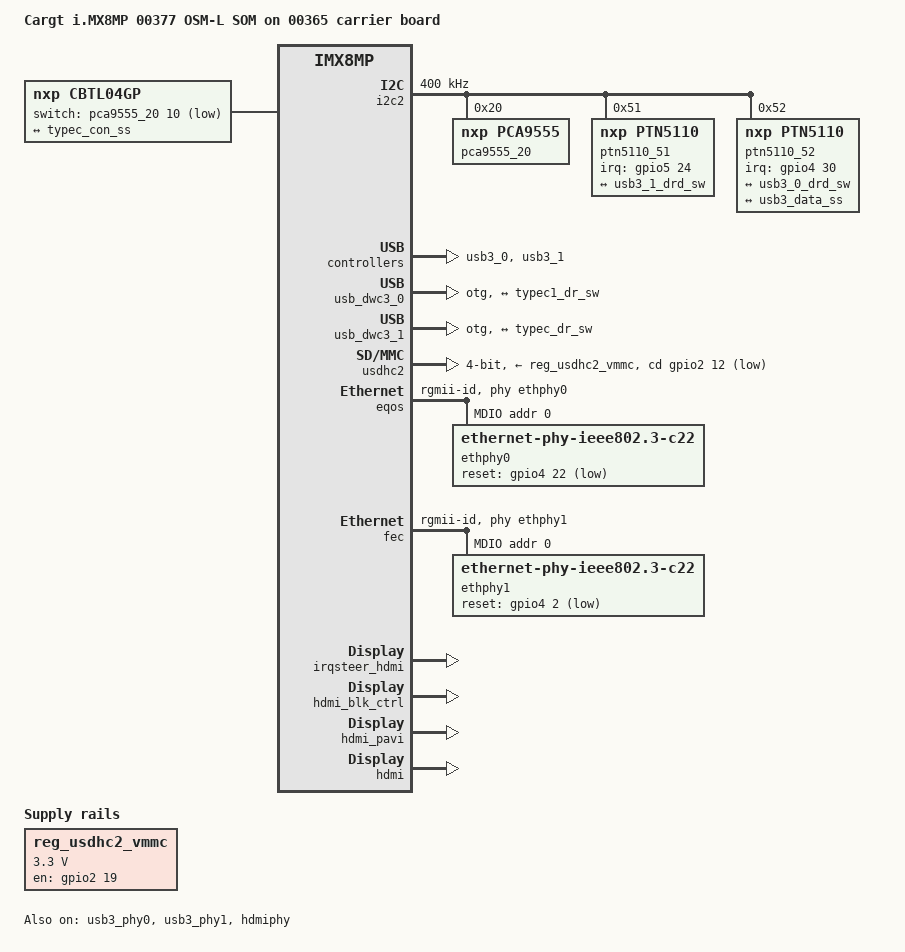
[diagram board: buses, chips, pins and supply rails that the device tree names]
// SPDX-License-Identifier: (GPL-2.0+ OR MIT)
/*
 * Copyright 2022 NXP
 */

/dts-v1/;

#include <dt-bindings/usb/pd.h>
#include "imx8mp-cargt-00377-osm-som.dts"
 / {
	model = "Cargt i.MX8MP 00377 OSM-L SOM on 00365 carrier board";

	cbtl04gp {
		compatible = "nxp,cbtl04gp";
		switch-gpios = <&pca9555_20 10 GPIO_ACTIVE_LOW>;
		orientation-switch;

		port {
			usb3_data_ss: endpoint {
				remote-endpoint = <&typec_con_ss>;
			};
		};
	};	
		
	reg_usdhc2_vmmc: regulator-usdhc2 {
		pinctrl-names = "default";
		pinctrl-0 = <&pinctrl_reg_usdhc2_vmmc>;
		compatible = "regulator-fixed";
		regulator-name = "SD2_3P3V";
		regulator-min-microvolt = <3300000>;
		regulator-max-microvolt = <3300000>;
		gpio = <&gpio2 19 GPIO_ACTIVE_HIGH>;
		enable-active-high;
	};
};

&i2c2 {
	 #address-cells = <1>;
	 #size-cells = <0>;
	 clock-frequency = <400000>;
	 pinctrl-names = "default", "sleep";
	 pinctrl-0 = <&pinctrl_i2c2>;
	 pinctrl-1 = <&pinctrl_i2c2>;
	 status = "okay";
 
	pca9555_20: pca9555@20 {
		compatible = "nxp,pca9555";
		reg = <0x20>;
		gpio-controller;
		#gpio-cells = <2>;
		status = "okay";
		gpio-line-names =
			"pca9555_20-0",	"pca9555_20-1",	"pca9555_20-2",	"pca9555_20-3", 	// 0-3
			"pca9555_20-4",	"pca9555_20-5",	"pca9555_20-6",	"pca9555_20-7",		// 4-7
			"pca9555_20-8",	"pca9555_20-9",	"pca9555_20-10","pca9555_20-11", 	// 8-11
			"pca9555_20-12","pca9555_20-13","pca9555_20-14","pca9555_20-15"; 	// 12-15
	};	 
 
	 ptn5110_51: tcpc@51 {
		 compatible = "nxp,ptn5110";
		 reg = <0x51>;
		 pinctrl-names = "default";
		 pinctrl-0 = <&pinctrl_ptn5110_51>;
		 interrupt-parent = <&gpio5>;
		 interrupts = <24 IRQ_TYPE_LEVEL_LOW>;	
		 status = "okay";
 
		 port {
			 typec_dr_sw: endpoint {
				 remote-endpoint = <&usb3_1_drd_sw>;
			 };
		 };
 
		 typec1_con: connector {
			 compatible = "usb-c-connector";
			 label = "USB-C";
			 power-role = "dual";
			 data-role = "dual";
			 try-power-role = "sink";
			 source-pdos = <PDO_FIXED(5000, 3000, PDO_FIXED_USB_COMM)>;
			 sink-pdos = <PDO_FIXED(5000, 3000, PDO_FIXED_USB_COMM)
					 PDO_VAR(5000, 20000, 3000)>;
			 op-sink-microwatt = <15000000>;
			 self-powered;
		 };
	 };

	 ptn5110_52: tcpc@52 {
		 compatible = "nxp,ptn5110";
		 reg = <0x52>;
		 pinctrl-names = "default";
		 pinctrl-0 = <&pinctrl_ptn5110_52>;
		 interrupt-parent = <&gpio4>;
		 interrupts = <30 IRQ_TYPE_LEVEL_LOW>;			
		 status = "okay";
		
		port {
			typec1_dr_sw: endpoint {
				remote-endpoint = <&usb3_0_drd_sw>;
			};
		};
		
		usb_con: connector {
			compatible = "usb-c-connector";
			label = "USB-C";
			power-role = "dual";
			data-role = "dual";
			try-power-role = "sink";
			source-pdos = <PDO_FIXED(5000, 3000, PDO_FIXED_USB_COMM)>;
			sink-pdos = <PDO_FIXED(5000, 3000, PDO_FIXED_USB_COMM)
				     PDO_VAR(5000, 20000, 3000)>;
			op-sink-microwatt = <15000000>;
			self-powered;

			ports {
				#address-cells = <1>;
				#size-cells = <0>;

				port@1 {
					reg = <1>;
					typec_con_ss: endpoint {
						remote-endpoint = <&usb3_data_ss>;
					};
				};
			};
		}; 
	};
};

&uart2 {
 	/* These pins are needed for ETH and USB interrupts
	 * on the 00365 carrier board, so disable UART2
	 */
	status = "disabled";
};

&usb3_phy0 {
	fsl,phy-tx-vref-tune = <0xe>;
	fsl,phy-tx-preemp-amp-tune = <3>;
	fsl,phy-tx-vboost-level = <5>;
	fsl,phy-comp-dis-tune = <7>;
	fsl,pcs-tx-deemph-3p5db = <0x21>;
	fsl,phy-pcs-tx-swing-full = <0x7f>;
	status = "okay";
};

&usb3_0 {
	status = "okay";
};

&usb_dwc3_0 {
	dr_mode = "otg";
	hnp-disable;
	srp-disable;
	adp-disable;
	usb-role-switch;
	role-switch-default-mode = "none";
	snps,dis-u1-entry-quirk;
	snps,dis-u2-entry-quirk;
	status = "okay";

	port {
		usb3_0_drd_sw: endpoint {
			remote-endpoint = <&typec1_dr_sw>;
		};
	};
};

&usb3_phy1 {
	fsl,phy-tx-preemp-amp-tune = <3>;
	fsl,phy-tx-vref-tune = <0xb>;
	status = "okay";
};

&usb3_1 {
	status = "okay";
};

&usb_dwc3_1 {
	dr_mode = "otg";
	hnp-disable;
	srp-disable;
	adp-disable;
	usb-role-switch;
	role-switch-default-mode = "none";
	snps,dis-u1-entry-quirk;
	snps,dis-u2-entry-quirk;
	status = "okay";

	port {
		usb3_1_drd_sw: endpoint {
			remote-endpoint = <&typec_dr_sw>;
		};
	};	
};

&usdhc2 {
	assigned-clocks = <&clk IMX8MP_CLK_USDHC2>;
	assigned-clock-rates = <400000000>;
	pinctrl-names = "default", "state_100mhz", "state_200mhz";
	pinctrl-0 = <&pinctrl_usdhc2>, <&pinctrl_usdhc2_gpio>;
	pinctrl-1 = <&pinctrl_usdhc2_100mhz>, <&pinctrl_usdhc2_gpio>;
	pinctrl-2 = <&pinctrl_usdhc2_200mhz>, <&pinctrl_usdhc2_gpio>;
	cd-gpios = <&gpio2 12 GPIO_ACTIVE_LOW>;
	vmmc-supply = <&reg_usdhc2_vmmc>;
	bus-width = <4>;
	status = "okay";
};

&eqos {
	pinctrl-names = "default";
	pinctrl-0 = <&pinctrl_eqos>;
	phy-mode = "rgmii-id";
	phy-handle = <&ethphy0>;
	snps,force_thresh_dma_mode;
	snps,mtl-tx-config = <&mtl_tx_setup>;
	snps,mtl-rx-config = <&mtl_rx_setup>;
	status = "okay";

	mdio {
		compatible = "snps,dwmac-mdio";
		#address-cells = <1>;
		#size-cells = <0>;

		ethphy0: ethernet-phy@0 {
			compatible = "ethernet-phy-ieee802.3-c22";
			reg = <0>;
			eee-broken-1000t;
			reset-gpios = <&gpio4 22 GPIO_ACTIVE_LOW>;
			reset-assert-us = <10000>;
			reset-deassert-us = <80000>;
		};
	};

	mtl_tx_setup: tx-queues-config {
		snps,tx-queues-to-use = <5>;
		snps,tx-sched-sp;

		queue0 {
			snps,dcb-algorithm;
			snps,priority = <0x1>;
		};

		queue1 {
			snps,dcb-algorithm;
			snps,priority = <0x2>;
		};

		queue2 {
			snps,dcb-algorithm;
			snps,priority = <0x4>;
		};

		queue3 {
			snps,dcb-algorithm;
			snps,priority = <0x8>;
		};

		queue4 {
			snps,dcb-algorithm;
			snps,priority = <0xf0>;
		};
	};

	mtl_rx_setup: rx-queues-config {
		snps,rx-queues-to-use = <5>;
		snps,rx-sched-sp;

		queue0 {
			snps,dcb-algorithm;
			snps,priority = <0x1>;
			snps,map-to-dma-channel = <0>;
		};

		queue1 {
			snps,dcb-algorithm;
			snps,priority = <0x2>;
			snps,map-to-dma-channel = <1>;
		};

		queue2 {
			snps,dcb-algorithm;
			snps,priority = <0x4>;
			snps,map-to-dma-channel = <2>;
		};

		queue3 {
			snps,dcb-algorithm;
			snps,priority = <0x8>;
			snps,map-to-dma-channel = <3>;
		};

		queue4 {
			snps,dcb-algorithm;
			snps,priority = <0xf0>;
			snps,map-to-dma-channel = <4>;
		};
	};
};

&fec {
	pinctrl-names = "default";
	pinctrl-0 = <&pinctrl_fec>;
	phy-mode = "rgmii-id";
	phy-handle = <&ethphy1>;
	fsl,magic-packet;
	status = "okay";

	mdio {
		#address-cells = <1>;
		#size-cells = <0>;

		ethphy1: ethernet-phy@0 {
			compatible = "ethernet-phy-ieee802.3-c22";
			reg = <0>;
			eee-broken-1000t;
			reset-gpios = <&gpio4 2 GPIO_ACTIVE_LOW>;
			reset-assert-us = <10000>;
			reset-deassert-us = <80000>;
		};
	};
};


&irqsteer_hdmi {
	status = "okay";
};

&hdmi_blk_ctrl {
	status = "okay";
};

&hdmi_pavi {
	status = "okay";
};

&hdmi {
	status = "okay";
};

&hdmiphy {
	status = "okay";
};


&iomuxc {
	pinctrl-names = "default";
	pinctrl-0 = <&pinctrl_hog>;
	
	pinctrl_hog: hoggrp {
		fsl,pins = <
			MX8MP_IOMUXC_HDMI_DDC_SCL__HDMIMIX_HDMI_SCL	0x400001c2
			MX8MP_IOMUXC_HDMI_DDC_SDA__HDMIMIX_HDMI_SDA	0x400001c2
			MX8MP_IOMUXC_HDMI_HPD__HDMIMIX_HDMI_HPD		0x40000010
			MX8MP_IOMUXC_HDMI_CEC__HDMIMIX_HDMI_CEC		0x40000010
		>;
	};		

	pinctrl_usdhc2: usdhc2grp {
		fsl,pins = <
			MX8MP_IOMUXC_SD2_CLK__USDHC2_CLK		0x190
			MX8MP_IOMUXC_SD2_CMD__USDHC2_CMD		0x1d0
			MX8MP_IOMUXC_SD2_DATA0__USDHC2_DATA0	0x1d0
			MX8MP_IOMUXC_SD2_DATA1__USDHC2_DATA1	0x1d0
			MX8MP_IOMUXC_SD2_DATA2__USDHC2_DATA2	0x1d0
			MX8MP_IOMUXC_SD2_DATA3__USDHC2_DATA3	0x1d0
			MX8MP_IOMUXC_GPIO1_IO04__USDHC2_VSELECT	0xc0
		>;
	};

	pinctrl_usdhc2_100mhz: usdhc2-100mhzgrp {
		fsl,pins = <
			MX8MP_IOMUXC_SD2_CLK__USDHC2_CLK		0x194
			MX8MP_IOMUXC_SD2_CMD__USDHC2_CMD		0x1d4
			MX8MP_IOMUXC_SD2_DATA0__USDHC2_DATA0	0x1d4
			MX8MP_IOMUXC_SD2_DATA1__USDHC2_DATA1	0x1d4
			MX8MP_IOMUXC_SD2_DATA2__USDHC2_DATA2	0x1d4
			MX8MP_IOMUXC_SD2_DATA3__USDHC2_DATA3	0x1d4
			MX8MP_IOMUXC_GPIO1_IO04__USDHC2_VSELECT 0xc0
		>;
	};

	pinctrl_usdhc2_200mhz: usdhc2-200mhzgrp {
		fsl,pins = <
			MX8MP_IOMUXC_SD2_CLK__USDHC2_CLK		0x196
			MX8MP_IOMUXC_SD2_CMD__USDHC2_CMD		0x1d6
			MX8MP_IOMUXC_SD2_DATA0__USDHC2_DATA0	0x1d6
			MX8MP_IOMUXC_SD2_DATA1__USDHC2_DATA1	0x1d6
			MX8MP_IOMUXC_SD2_DATA2__USDHC2_DATA2	0x1d6
			MX8MP_IOMUXC_SD2_DATA3__USDHC2_DATA3	0x1d6
			MX8MP_IOMUXC_GPIO1_IO04__USDHC2_VSELECT 0xc0
		>;
	};

	pinctrl_usdhc2_gpio: usdhc2gpiogrp {
		fsl,pins = <
			MX8MP_IOMUXC_SD2_CD_B__GPIO2_IO12	0x1c4
		>;
	};
		
	pinctrl_reg_usdhc2_vmmc: regusdhc2vmmcgrp {
		fsl,pins = <
			MX8MP_IOMUXC_SD2_RESET_B__GPIO2_IO19	0x40
		>;
	};
	
	pinctrl_ptn5110_51: ptn5110_51grp {
		fsl,pins = <
			MX8MP_IOMUXC_UART2_RXD__GPIO5_IO24		0x31e
		>;
	};

	pinctrl_ptn5110_52: ptn5110_52grp {
		fsl,pins = <
			MX8MP_IOMUXC_SAI3_RXD__GPIO4_IO30		0x31e
		>;
	};
		
	pinctrl_i2c2: i2c2grp {
		fsl,pins = <
			MX8MP_IOMUXC_I2C2_SCL__I2C2_SCL		0x400001c2
			MX8MP_IOMUXC_I2C2_SDA__I2C2_SDA		0x400001c2
		>;
	};

	pinctrl_eqos: eqosgrp {
		fsl,pins = <
			MX8MP_IOMUXC_ENET_MDC__ENET_QOS_MDC							0x2
			MX8MP_IOMUXC_ENET_MDIO__ENET_QOS_MDIO						0x2
			MX8MP_IOMUXC_ENET_RD0__ENET_QOS_RGMII_RD0					0x90
			MX8MP_IOMUXC_ENET_RD1__ENET_QOS_RGMII_RD1					0x90
			MX8MP_IOMUXC_ENET_RD2__ENET_QOS_RGMII_RD2					0x90
			MX8MP_IOMUXC_ENET_RD3__ENET_QOS_RGMII_RD3					0x90
			MX8MP_IOMUXC_ENET_RXC__CCM_ENET_QOS_CLOCK_GENERATE_RX_CLK	0x90
			MX8MP_IOMUXC_ENET_RX_CTL__ENET_QOS_RGMII_RX_CTL				0x90
			MX8MP_IOMUXC_ENET_TD0__ENET_QOS_RGMII_TD0					0x16
			MX8MP_IOMUXC_ENET_TD1__ENET_QOS_RGMII_TD1					0x16
			MX8MP_IOMUXC_ENET_TD2__ENET_QOS_RGMII_TD2					0x16
			MX8MP_IOMUXC_ENET_TD3__ENET_QOS_RGMII_TD3					0x16
			MX8MP_IOMUXC_ENET_TX_CTL__ENET_QOS_RGMII_TX_CTL				0x16
			MX8MP_IOMUXC_ENET_TXC__CCM_ENET_QOS_CLOCK_GENERATE_TX_CLK	0x16
			MX8MP_IOMUXC_SAI2_RXC__GPIO4_IO22							0x10
		>;
	};

	pinctrl_fec: fecgrp {
		fsl,pins = <
			MX8MP_IOMUXC_SAI1_RXD2__ENET1_MDC			0x2
			MX8MP_IOMUXC_SAI1_RXD3__ENET1_MDIO			0x2
			MX8MP_IOMUXC_SAI1_RXD4__ENET1_RGMII_RD0		0x90
			MX8MP_IOMUXC_SAI1_RXD5__ENET1_RGMII_RD1		0x90
			MX8MP_IOMUXC_SAI1_RXD6__ENET1_RGMII_RD2		0x90
			MX8MP_IOMUXC_SAI1_RXD7__ENET1_RGMII_RD3		0x90
			MX8MP_IOMUXC_SAI1_TXC__ENET1_RGMII_RXC		0x90
			MX8MP_IOMUXC_SAI1_TXFS__ENET1_RGMII_RX_CTL	0x90
			MX8MP_IOMUXC_SAI1_TXD0__ENET1_RGMII_TD0		0x16
			MX8MP_IOMUXC_SAI1_TXD1__ENET1_RGMII_TD1		0x16
			MX8MP_IOMUXC_SAI1_TXD2__ENET1_RGMII_TD2		0x16
			MX8MP_IOMUXC_SAI1_TXD3__ENET1_RGMII_TD3		0x16
			MX8MP_IOMUXC_SAI1_TXD4__ENET1_RGMII_TX_CTL	0x16
			MX8MP_IOMUXC_SAI1_TXD5__ENET1_RGMII_TXC		0x16
			MX8MP_IOMUXC_SAI1_RXD0__GPIO4_IO02			0x10
		>;
	};
 };
 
